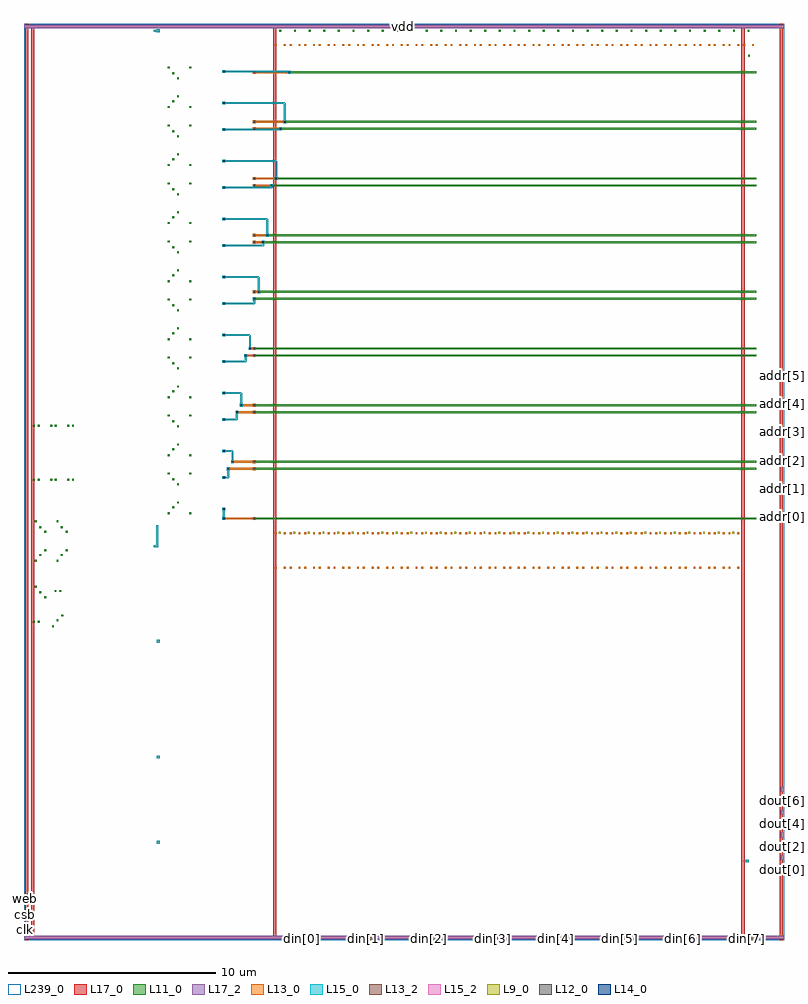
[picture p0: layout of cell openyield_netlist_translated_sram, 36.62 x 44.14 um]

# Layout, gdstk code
import gdstk
lib = gdstk.Library(unit=1e-6, precision=5e-10)
def R(c, l, rs):  # rectangles x0, y0, x1, y1
    for r in rs: c.add(gdstk.rectangle(r[:2], r[2:], *l))
def A(c, l, x, y, w, h, nx, ny, dx, dy):  # array of equal rectangles
    R(c, l, [(x+i*dx, y+j*dy, x+i*dx+w, y+j*dy+h) for i in range(nx) for j in range(ny)])
L9_0 = (9, 0)
L11_0 = (11, 0)
L12_0 = (12, 0)
L13_0 = (13, 0)
L13_2 = (13, 2)
L14_0 = (14, 0)
L15_0 = (15, 0)
L15_2 = (15, 2)
L17_0 = (17, 0)
L17_2 = (17, 2)
L239_0 = (239, 0)

openyield_netlist_transl = lib.new_cell('openyield_netlist_translated_sram')
A(openyield_netlist_transl, L9_0, 12.275, 19.575, 0.09, 0.09, 32, 1, 0.705, 0)
A(openyield_netlist_transl, L11_0, 12.31, 43.77, 0.09, 0.09, 33, 1, 0.705, 0)
R(openyield_netlist_transl, L11_0, [(1.3525,15.08,1.4425,15.17), (0.4375,15.29,0.5275,15.38), (0.67,15.29,0.76,15.38), (1.5675,15.36,1.6575,15.45), (1.805,15.5925,1.895,15.6825), (0.9825,16.475,1.0725,16.565), (0.745,16.7075,0.835,16.7975), (1.475,16.7775,1.565,16.8675), (1.7075,16.7775,1.7975,16.8675), (0.53,16.9875,0.62,17.0775), (0.53,18.2275,0.62,18.3175), (1.5675,18.2275,1.6575,18.3175), (0.745,18.5075,0.835,18.5975), (1.7825,18.5075,1.8725,18.5975), (0.9825,18.74,1.0725,18.83), (2.02,18.74,2.11,18.83), (0.9825,19.6225,1.0725,19.7125), (2.02,19.6225,2.11,19.7125), (0.745,19.855,0.835,19.945), (1.7825,19.855,1.8725,19.945), (0.53,20.135,0.62,20.225), (1.5675,20.135,1.6575,20.225), (11.0325,20.2475,11.1675,20.3825), (11.1,20.27,35.28,20.36), (6.925,20.53,7.015,20.62), (7.9625,20.53,8.0525,20.62), (9.5625,20.7025,9.6975,20.8375), (9.585,20.725,9.675,20.815), (7.14,20.81,7.23,20.9), (7.3775,21.0425,7.4675,21.1325), (7.3775,21.925,7.4675,22.015), (0.4375,22.1375,0.5275,22.2275), (0.67,22.1375,0.76,22.2275), (1.26,22.1375,1.35,22.2275), (1.4925,22.1375,1.5825,22.2275), (2.0825,22.1375,2.1725,22.2275), (2.315,22.1375,2.405,22.2275), (7.14,22.1575,7.23,22.2475), (9.5625,22.22,9.6975,22.355), (9.585,22.2425,9.675,22.3325), (6.925,22.4375,7.015,22.5275), (7.9625,22.4375,8.0525,22.5275), (11.0325,22.6425,11.1675,22.7775), (11.1,22.665,35.28,22.755), (11.0325,22.9775,11.1675,23.1125), (11.1,23,35.28,23.09), (6.925,23.325,7.015,23.415), (7.9625,23.325,8.0525,23.415), (9.5625,23.4975,9.6975,23.6325), (9.585,23.52,9.675,23.61), (7.14,23.605,7.23,23.695), (7.3775,23.8375,7.4675,23.9275), (7.3775,24.72,7.4675,24.81), (0.4375,24.73,0.5275,24.82), (0.67,24.73,0.76,24.82), (1.26,24.73,1.35,24.82), (1.4925,24.73,1.5825,24.82), (2.0825,24.73,2.1725,24.82), (2.315,24.73,2.405,24.82), (7.14,24.9525,7.23,25.0425), (9.5625,25.015,9.6975,25.15), (9.585,25.0375,9.675,25.1275), (6.925,25.2325,7.015,25.3225), (7.9625,25.2325,8.0525,25.3225), (11.0325,25.3725,11.1675,25.5075), (11.1,25.395,35.28,25.485), (11.0325,25.7075,11.1675,25.8425), (11.1,25.73,35.28,25.82), (6.925,26.12,7.015,26.21), (7.9625,26.12,8.0525,26.21), (9.5625,26.2925,9.6975,26.4275), (9.585,26.315,9.675,26.405), (7.14,26.4,7.23,26.49), (7.3775,26.6325,7.4675,26.7225), (7.3775,27.515,7.4675,27.605), (7.14,27.7475,7.23,27.8375), (9.5625,27.81,9.6975,27.945), (9.585,27.8325,9.675,27.9225), (6.925,28.0275,7.015,28.1175), (7.9625,28.0275,8.0525,28.1175), (11.0325,28.1025,11.1675,28.2375), (11.1,28.125,35.28,28.215), (11.0325,28.4375,11.1675,28.5725), (11.1,28.46,35.28,28.55), (6.925,28.915,7.015,29.005), (7.9625,28.915,8.0525,29.005), (9.5625,29.0875,9.6975,29.2225), (9.585,29.11,9.675,29.2), (7.14,29.195,7.23,29.285), (7.3775,29.4275,7.4675,29.5175), (7.3775,30.31,7.4675,30.4), (7.14,30.5425,7.23,30.6325), (9.5625,30.605,9.6975,30.74), (9.585,30.6275,9.675,30.7175), (6.925,30.8225,7.015,30.9125), (7.9625,30.8225,8.0525,30.9125), (11.0325,30.8325,11.1675,30.9675), (11.1,30.855,35.28,30.945), (11.0325,31.1675,11.1675,31.3025), (11.1,31.19,35.28,31.28), (6.925,31.71,7.015,31.8), (7.9625,31.71,8.0525,31.8), (9.5625,31.8825,9.6975,32.0175), (9.585,31.905,9.675,31.995), (7.14,31.99,7.23,32.08), (7.3775,32.2225,7.4675,32.3125), (7.3775,33.105,7.4675,33.195), (7.14,33.3375,7.23,33.4275), (9.5625,33.4,9.6975,33.535), (9.585,33.4225,9.675,33.5125), (11.0325,33.5625,11.1675,33.6975), (11.1,33.585,35.28,33.675), (6.925,33.6175,7.015,33.7075), (7.9625,33.6175,8.0525,33.7075), (11.0325,33.8975,11.1675,34.0325), (11.1,33.92,35.28,34.01), (6.925,34.505,7.015,34.595), (7.9625,34.505,8.0525,34.595), (9.5625,34.6775,9.6975,34.8125), (9.585,34.7,9.675,34.79), (7.14,34.785,7.23,34.875), (7.3775,35.0175,7.4675,35.1075), (7.3775,35.9,7.4675,35.99), (7.14,36.1325,7.23,36.2225), (9.5625,36.195,9.6975,36.33), (9.585,36.2175,9.675,36.3075), (11.0325,36.2925,11.1675,36.4275), (11.1,36.315,35.28,36.405), (6.925,36.4125,7.015,36.5025), (7.9625,36.4125,8.0525,36.5025), (11.0325,36.6275,11.1675,36.7625), (11.1,36.65,35.28,36.74), (6.925,37.3,7.015,37.39), (7.9625,37.3,8.0525,37.39), (9.5625,37.4725,9.6975,37.6075), (9.585,37.495,9.675,37.585), (7.14,37.58,7.23,37.67), (7.3775,37.8125,7.4675,37.9025), (7.3775,38.695,7.4675,38.785), (7.14,38.9275,7.23,39.0175), (9.5625,38.99,9.6975,39.125), (9.585,39.0125,9.675,39.1025), (11.0325,39.0225,11.1675,39.1575), (11.1,39.045,35.28,39.135), (6.925,39.2075,7.015,39.2975), (7.9625,39.2075,8.0525,39.2975), (11.0325,39.3575,11.1675,39.4925), (11.1,39.38,35.28,39.47), (6.925,40.095,7.015,40.185), (7.9625,40.095,8.0525,40.185), (9.5625,40.2675,9.6975,40.4025), (9.585,40.29,9.675,40.38), (7.14,40.375,7.23,40.465), (7.3775,40.6075,7.4675,40.6975), (7.3775,41.49,7.4675,41.58), (7.14,41.7225,7.23,41.8125), (11.0325,41.7525,11.1675,41.8875), (11.1,41.775,35.28,41.865), (9.5625,41.785,9.6975,41.92), (9.585,41.8075,9.675,41.8975), (6.925,42.0025,7.015,42.0925), (7.9625,42.0025,8.0525,42.0925), (34.89,42.5725,34.98,42.6625)])
R(openyield_netlist_transl, L12_0, [(11.0675,20.2825,11.1325,20.3475), (9.5975,20.7375,9.6625,20.8025), (9.5975,22.255,9.6625,22.32), (11.0675,22.6775,11.1325,22.7425), (11.0675,23.0125,11.1325,23.0775), (9.5975,23.5325,9.6625,23.5975), (9.5975,25.05,9.6625,25.115), (11.0675,25.4075,11.1325,25.4725), (11.0675,25.7425,11.1325,25.8075), (9.5975,26.3275,9.6625,26.3925), (9.5975,27.845,9.6625,27.91), (11.0675,28.1375,11.1325,28.2025), (11.0675,28.4725,11.1325,28.5375), (9.5975,29.1225,9.6625,29.1875), (9.5975,30.64,9.6625,30.705), (11.0675,30.8675,11.1325,30.9325), (11.0675,31.2025,11.1325,31.2675), (9.5975,31.9175,9.6625,31.9825), (9.5975,33.435,9.6625,33.5), (11.0675,33.5975,11.1325,33.6625), (11.0675,33.9325,11.1325,33.9975), (9.5975,34.7125,9.6625,34.7775), (9.5975,36.23,9.6625,36.295), (11.0675,36.3275,11.1325,36.3925), (11.0675,36.6625,11.1325,36.7275), (9.5975,37.5075,9.6625,37.5725), (9.5975,39.025,9.6625,39.09), (11.0675,39.0575,11.1325,39.1225), (11.0675,39.3925,11.1325,39.4575), (9.5975,40.3025,9.6625,40.3675), (11.0675,41.7875,11.1325,41.8525), (9.5975,41.82,9.6625,41.885)])
A(openyield_netlist_transl, L13_0, 13.18, 0, 0.5, 0.16, 8, 1, 3.06, 0)
A(openyield_netlist_transl, L13_0, 0, 0.2425, 0.16, 0.5, 1, 3, 0, 0.75)
A(openyield_netlist_transl, L13_0, 0.16, 0.4575, 0.1825, 0.07, 1, 3, 0, 0.75)
R(openyield_netlist_transl, L13_0, [(34.7825,3.74,34.9175,3.875), (6.395,4.6525,6.53,4.7875), (6.395,8.7575,6.53,8.8925), (6.395,14.325,6.53,14.46), (12.0975,17.8975,12.1875,17.9875), (12.5225,17.8975,12.6125,17.9875), (12.8025,17.8975,12.8925,17.9875), (13.2275,17.8975,13.3175,17.9875), (13.5075,17.8975,13.5975,17.9875), (13.9325,17.8975,14.0225,17.9875), (14.2125,17.8975,14.3025,17.9875), (14.6375,17.8975,14.7275,17.9875), (14.9175,17.8975,15.0075,17.9875), (15.3425,17.8975,15.4325,17.9875), (15.6225,17.8975,15.7125,17.9875), (16.0475,17.8975,16.1375,17.9875), (16.3275,17.8975,16.4175,17.9875), (16.7525,17.8975,16.8425,17.9875), (17.0325,17.8975,17.1225,17.9875), (17.4575,17.8975,17.5475,17.9875), (17.7375,17.8975,17.8275,17.9875), (18.1625,17.8975,18.2525,17.9875), (18.4425,17.8975,18.5325,17.9875), (18.8675,17.8975,18.9575,17.9875), (19.1475,17.8975,19.2375,17.9875), (19.5725,17.8975,19.6625,17.9875), (19.8525,17.8975,19.9425,17.9875), (20.2775,17.8975,20.3675,17.9875), (20.5575,17.8975,20.6475,17.9875), (20.9825,17.8975,21.0725,17.9875), (21.2625,17.8975,21.3525,17.9875), (21.6875,17.8975,21.7775,17.9875), (21.9675,17.8975,22.0575,17.9875), (22.3925,17.8975,22.4825,17.9875), (22.6725,17.8975,22.7625,17.9875), (23.0975,17.8975,23.1875,17.9875), (23.3775,17.8975,23.4675,17.9875), (23.8025,17.8975,23.8925,17.9875), (24.0825,17.8975,24.1725,17.9875), (24.5075,17.8975,24.5975,17.9875), (24.7875,17.8975,24.8775,17.9875), (25.2125,17.8975,25.3025,17.9875), (25.4925,17.8975,25.5825,17.9875), (25.9175,17.8975,26.0075,17.9875), (26.1975,17.8975,26.2875,17.9875), (26.6225,17.8975,26.7125,17.9875), (26.9025,17.8975,26.9925,17.9875), (27.3275,17.8975,27.4175,17.9875), (27.6075,17.8975,27.6975,17.9875), (28.0325,17.8975,28.1225,17.9875), (28.3125,17.8975,28.4025,17.9875), (28.7375,17.8975,28.8275,17.9875), (29.0175,17.8975,29.1075,17.9875), (29.4425,17.8975,29.5325,17.9875), (29.7225,17.8975,29.8125,17.9875), (30.1475,17.8975,30.2375,17.9875), (30.4275,17.8975,30.5175,17.9875), (30.8525,17.8975,30.9425,17.9875), (31.1325,17.8975,31.2225,17.9875), (31.5575,17.8975,31.6475,17.9875), (31.8375,17.8975,31.9275,17.9875), (32.2625,17.8975,32.3525,17.9875), (32.5425,17.8975,32.6325,17.9875), (32.9675,17.8975,33.0575,17.9875), (33.2475,17.8975,33.3375,17.9875), (33.6725,17.8975,33.7625,17.9875), (33.9525,17.8975,34.0425,17.9875), (34.3775,17.8975,34.4675,17.9875), (12.0975,19.5575,12.1875,19.6475), (12.5225,19.5575,12.6125,19.6475), (12.8025,19.5575,12.8925,19.6475), (13.2275,19.5575,13.3175,19.6475), (13.5075,19.5575,13.5975,19.6475), (13.9325,19.5575,14.0225,19.6475), (14.2125,19.5575,14.3025,19.6475), (14.6375,19.5575,14.7275,19.6475), (14.9175,19.5575,15.0075,19.6475), (15.3425,19.5575,15.4325,19.6475), (15.6225,19.5575,15.7125,19.6475), (16.0475,19.5575,16.1375,19.6475), (16.3275,19.5575,16.4175,19.6475), (16.7525,19.5575,16.8425,19.6475), (17.0325,19.5575,17.1225,19.6475), (17.4575,19.5575,17.5475,19.6475), (17.7375,19.5575,17.8275,19.6475), (18.1625,19.5575,18.2525,19.6475), (18.4425,19.5575,18.5325,19.6475), (18.8675,19.5575,18.9575,19.6475), (19.1475,19.5575,19.2375,19.6475), (19.5725,19.5575,19.6625,19.6475), (19.8525,19.5575,19.9425,19.6475), (20.2775,19.5575,20.3675,19.6475), (20.5575,19.5575,20.6475,19.6475), (20.9825,19.5575,21.0725,19.6475), (21.2625,19.5575,21.3525,19.6475), (21.6875,19.5575,21.7775,19.6475), (21.9675,19.5575,22.0575,19.6475), (22.3925,19.5575,22.4825,19.6475), (22.6725,19.5575,22.7625,19.6475), (23.0975,19.5575,23.1875,19.6475), (23.3775,19.5575,23.4675,19.6475), (23.8025,19.5575,23.8925,19.6475), (24.0825,19.5575,24.1725,19.6475), (24.5075,19.5575,24.5975,19.6475), (24.7875,19.5575,24.8775,19.6475), (25.2125,19.5575,25.3025,19.6475), (25.4925,19.5575,25.5825,19.6475), (25.9175,19.5575,26.0075,19.6475), (26.1975,19.5575,26.2875,19.6475), (26.6225,19.5575,26.7125,19.6475), (26.9025,19.5575,26.9925,19.6475), (27.3275,19.5575,27.4175,19.6475), (27.6075,19.5575,27.6975,19.6475), (28.0325,19.5575,28.1225,19.6475), (28.3125,19.5575,28.4025,19.6475), (28.7375,19.5575,28.8275,19.6475), (29.0175,19.5575,29.1075,19.6475), (29.4425,19.5575,29.5325,19.6475), (29.7225,19.5575,29.8125,19.6475), (30.1475,19.5575,30.2375,19.6475), (30.4275,19.5575,30.5175,19.6475), (30.8525,19.5575,30.9425,19.6475), (31.1325,19.5575,31.2225,19.6475), (31.5575,19.5575,31.6475,19.6475), (31.8375,19.5575,31.9275,19.6475), (32.2625,19.5575,32.3525,19.6475), (32.5425,19.5575,32.6325,19.6475), (32.9675,19.5575,33.0575,19.6475), (33.2475,19.5575,33.3375,19.6475), (33.6725,19.5575,33.7625,19.6475), (33.9525,19.5575,34.0425,19.6475), (34.3775,19.5575,34.4675,19.6475), (9.5625,20.2475,9.6975,20.3825), (11.0325,20.2475,11.1675,20.3825), (9.63,20.27,11.1,20.36), (9.5625,20.7025,9.6975,20.8375), (9.5625,22.22,9.6975,22.355), (9.7725,22.6425,9.9075,22.7775), (11.0325,22.6425,11.1675,22.7775), (9.84,22.665,11.1,22.755), (9.9825,22.9775,10.1175,23.1125), (11.0325,22.9775,11.1675,23.1125), (10.05,23,11.1,23.09), (9.5625,23.4975,9.6975,23.6325), (9.5625,25.015,9.6975,25.15), (10.1925,25.3725,10.3275,25.5075), (11.0325,25.3725,11.1675,25.5075), (10.26,25.395,11.1,25.485), (10.4025,25.7075,10.5375,25.8425), (11.0325,25.7075,11.1675,25.8425), (10.47,25.73,11.1,25.82), (9.5625,26.2925,9.6975,26.4275), (9.5625,27.81,9.6975,27.945), (10.6125,28.1025,10.7475,28.2375), (11.0325,28.1025,11.1675,28.2375), (10.68,28.125,11.1,28.215), (10.8225,28.4375,10.9575,28.5725), (11.0325,28.4375,11.1675,28.5725), (10.89,28.46,11.1,28.55), (9.5625,29.0875,9.6975,29.2225), (9.5625,30.605,9.6975,30.74), (11.0325,30.8325,11.1675,30.9675), (11.0325,31.1675,11.1675,31.3025), (11.2425,31.1675,11.3775,31.3025), (11.1,31.19,11.31,31.28), (9.5625,31.8825,9.6975,32.0175), (9.5625,33.4,9.6975,33.535), (11.0325,33.5625,11.1675,33.6975), (11.4525,33.5625,11.5875,33.6975), (11.1,33.585,11.52,33.675), (11.0325,33.8975,11.1675,34.0325), (11.6625,33.8975,11.7975,34.0325), (11.1,33.92,11.73,34.01), (9.5625,34.6775,9.6975,34.8125), (9.5625,36.195,9.6975,36.33), (11.0325,36.2925,11.1675,36.4275), (11.8725,36.2925,12.0075,36.4275), (11.1,36.315,11.94,36.405), (11.0325,36.6275,11.1675,36.7625), (12.0825,36.6275,12.2175,36.7625), (11.1,36.65,12.15,36.74), (9.5625,37.4725,9.6975,37.6075), (9.5625,38.99,9.6975,39.125), (11.0325,39.0225,11.1675,39.1575), (12.2925,39.0225,12.4275,39.1575), (11.1,39.045,12.36,39.135), (11.0325,39.3575,11.1675,39.4925), (12.5025,39.3575,12.6375,39.4925), (11.1,39.38,12.57,39.47), (9.5625,40.2675,9.6975,40.4025), (11.0325,41.7525,11.1675,41.8875), (12.7125,41.7525,12.8475,41.8875), (11.1,41.775,12.78,41.865), (9.5625,41.785,9.6975,41.92), (12.0975,43.0875,12.1875,43.1775), (12.5225,43.0875,12.6125,43.1775), (12.8025,43.0875,12.8925,43.1775), (13.2275,43.0875,13.3175,43.1775), (13.5075,43.0875,13.5975,43.1775), (13.9325,43.0875,14.0225,43.1775), (14.2125,43.0875,14.3025,43.1775), (14.6375,43.0875,14.7275,43.1775), (14.9175,43.0875,15.0075,43.1775), (15.3425,43.0875,15.4325,43.1775), (15.6225,43.0875,15.7125,43.1775), (16.0475,43.0875,16.1375,43.1775), (16.3275,43.0875,16.4175,43.1775), (16.7525,43.0875,16.8425,43.1775), (17.0325,43.0875,17.1225,43.1775), (17.4575,43.0875,17.5475,43.1775), (17.7375,43.0875,17.8275,43.1775), (18.1625,43.0875,18.2525,43.1775), (18.4425,43.0875,18.5325,43.1775), (18.8675,43.0875,18.9575,43.1775), (19.1475,43.0875,19.2375,43.1775), (19.5725,43.0875,19.6625,43.1775), (19.8525,43.0875,19.9425,43.1775), (20.2775,43.0875,20.3675,43.1775), (20.5575,43.0875,20.6475,43.1775), (20.9825,43.0875,21.0725,43.1775), (21.2625,43.0875,21.3525,43.1775), (21.6875,43.0875,21.7775,43.1775), (21.9675,43.0875,22.0575,43.1775), (22.3925,43.0875,22.4825,43.1775), (22.6725,43.0875,22.7625,43.1775), (23.0975,43.0875,23.1875,43.1775), (23.3775,43.0875,23.4675,43.1775), (23.8025,43.0875,23.8925,43.1775), (24.0825,43.0875,24.1725,43.1775), (24.5075,43.0875,24.5975,43.1775), (24.7875,43.0875,24.8775,43.1775), (25.2125,43.0875,25.3025,43.1775), (25.4925,43.0875,25.5825,43.1775), (25.9175,43.0875,26.0075,43.1775), (26.1975,43.0875,26.2875,43.1775), (26.6225,43.0875,26.7125,43.1775), (26.9025,43.0875,26.9925,43.1775), (27.3275,43.0875,27.4175,43.1775), (27.6075,43.0875,27.6975,43.1775), (28.0325,43.0875,28.1225,43.1775), (28.3125,43.0875,28.4025,43.1775), (28.7375,43.0875,28.8275,43.1775), (29.0175,43.0875,29.1075,43.1775), (29.4425,43.0875,29.5325,43.1775), (29.7225,43.0875,29.8125,43.1775), (30.1475,43.0875,30.2375,43.1775), (30.4275,43.0875,30.5175,43.1775), (30.8525,43.0875,30.9425,43.1775), (31.1325,43.0875,31.2225,43.1775), (31.5575,43.0875,31.6475,43.1775), (31.8375,43.0875,31.9275,43.1775), (32.2625,43.0875,32.3525,43.1775), (32.5425,43.0875,32.6325,43.1775), (32.9675,43.0875,33.0575,43.1775), (33.2475,43.0875,33.3375,43.1775), (33.6725,43.0875,33.7625,43.1775), (33.9525,43.0875,34.0425,43.1775), (34.3775,43.0875,34.4675,43.1775), (34.6575,43.0875,34.7475,43.1775), (35.0825,43.0875,35.1725,43.1775), (6.395,43.7475,6.53,43.8825)])
A(openyield_netlist_transl, L13_2, 13.18, 0, 0.5, 0.16, 8, 1, 3.06, 0)
A(openyield_netlist_transl, L13_2, 0, 0.2425, 0.16, 0.5, 1, 3, 0, 0.75)
R(openyield_netlist_transl, L14_0, [(9.5975,20.2825,9.6625,20.3475), (9.5975,20.7375,9.6625,20.8025), (9.5975,22.255,9.6625,22.32), (9.8075,22.6775,9.8725,22.7425), (10.0175,23.0125,10.0825,23.0775), (9.5975,23.5325,9.6625,23.5975), (9.5975,25.05,9.6625,25.115), (10.2275,25.4075,10.2925,25.4725), (10.4375,25.7425,10.5025,25.8075), (9.5975,26.3275,9.6625,26.3925), (9.5975,27.845,9.6625,27.91), (10.6475,28.1375,10.7125,28.2025), (10.8575,28.4725,10.9225,28.5375), (9.5975,29.1225,9.6625,29.1875), (9.5975,30.64,9.6625,30.705), (11.0675,30.8675,11.1325,30.9325), (11.2775,31.2025,11.3425,31.2675), (9.5975,31.9175,9.6625,31.9825), (9.5975,33.435,9.6625,33.5), (11.4875,33.5975,11.5525,33.6625), (11.6975,33.9325,11.7625,33.9975), (9.5975,34.7125,9.6625,34.7775), (9.5975,36.23,9.6625,36.295), (11.9075,36.3275,11.9725,36.3925), (12.1175,36.6625,12.1825,36.7275), (9.5975,37.5075,9.6625,37.5725), (9.5975,39.025,9.6625,39.09), (12.3275,39.0575,12.3925,39.1225), (12.5375,39.3925,12.6025,39.4575), (9.5975,40.3025,9.6625,40.3675), (12.7475,41.7875,12.8125,41.8525), (9.5975,41.82,9.6625,41.885)])
A(openyield_netlist_transl, L15_0, 36.4625, 3.2875, 0.16, 0.25, 1, 8, 0, 0.55)
A(openyield_netlist_transl, L15_0, 36.4625, 20.1475, 0.16, 0.5, 1, 6, 0, 1.365)
R(openyield_netlist_transl, L15_0, [(34.7825,3.74,34.9175,3.875), (6.395,4.6525,6.53,4.7875), (6.395,8.7575,6.53,8.8925), (6.395,14.325,6.53,14.46), (6.2625,18.925,6.4575,19.015), (6.3675,18.925,6.4575,19.9925), (9.5625,20.2475,9.6975,20.3825), (9.585,20.315,9.675,20.77), (9.5625,20.7025,9.6975,20.8375), (9.5625,22.22,9.6975,22.355), (9.63,22.2425,9.84,22.3325), (9.795,22.2875,9.885,22.71), (9.7725,22.6425,9.9075,22.7775), (9.9825,22.9775,10.1175,23.1125), (10.005,23.045,10.095,23.565), (9.5625,23.4975,9.6975,23.6325), (9.63,23.52,10.05,23.61), (9.5625,25.015,9.6975,25.15), (9.63,25.0375,10.26,25.1275), (10.215,25.0825,10.305,25.44), (10.1925,25.3725,10.3275,25.5075), (10.4025,25.7075,10.5375,25.8425), (10.425,25.775,10.515,26.36), (9.5625,26.2925,9.6975,26.4275), (9.63,26.315,10.47,26.405), (9.5625,27.81,9.6975,27.945), (9.63,27.8325,10.68,27.9225), (10.635,27.8775,10.725,28.17), (10.6125,28.1025,10.7475,28.2375), (10.8225,28.4375,10.9575,28.5725), (10.845,28.505,10.935,29.155), (9.5625,29.0875,9.6975,29.2225), (9.63,29.11,10.89,29.2), (9.5625,30.605,9.6975,30.74), (9.63,30.6275,11.1,30.7175), (11.055,30.6725,11.145,30.9), (11.0325,30.8325,11.1675,30.9675), (11.2425,31.1675,11.3775,31.3025), (11.265,31.235,11.355,31.95), (9.5625,31.8825,9.6975,32.0175), (9.63,31.905,11.31,31.995), (9.5625,33.4,9.6975,33.535), (9.63,33.4225,11.52,33.5125), (11.475,33.4675,11.565,33.63), (11.4525,33.5625,11.5875,33.6975), (11.6625,33.8975,11.7975,34.0325), (11.685,33.965,11.775,34.745), (9.5625,34.6775,9.6975,34.8125), (9.63,34.7,11.73,34.79), (9.5625,36.195,9.6975,36.33), (9.63,36.2175,11.94,36.3075), (11.895,36.2625,11.985,36.36), (11.8725,36.2925,12.0075,36.4275), (12.0825,36.6275,12.2175,36.7625), (12.105,36.695,12.195,37.54), (9.5625,37.4725,9.6975,37.6075), (9.63,37.495,12.15,37.585), (9.5625,38.99,9.6975,39.125), (9.63,39.0125,12.36,39.1025), (12.2925,39.0225,12.4275,39.1575), (12.315,39.03,12.405,39.12), (12.5025,39.3575,12.6375,39.4925), (12.525,39.425,12.615,40.335), (9.5625,40.2675,9.6975,40.4025), (9.63,40.29,12.57,40.38), (12.7125,41.7525,12.8475,41.8875), (9.5625,41.785,9.6975,41.92), (12.735,41.7925,12.825,41.8825), (9.63,41.8075,12.78,41.8975), (6.395,43.7475,6.53,43.8825), (6.2625,43.77,6.4625,43.86)])
A(openyield_netlist_transl, L15_2, 36.4625, 3.2875, 0.16, 0.25, 1, 8, 0, 0.55)
A(openyield_netlist_transl, L15_2, 36.4625, 20.1475, 0.16, 0.5, 1, 6, 0, 1.365)
R(openyield_netlist_transl, L17_0, [(0.05,0,0.2,44.145), (36.4225,0,36.5725,44.145), (0,0.05,36.6225,0.2), (0.3425,0.2,0.5025,43.945), (12,0.2,12.16,43.945), (34.56,0.2,34.72,43.945), (0,43.945,36.6225,44.095)])
R(openyield_netlist_transl, L17_2, [(0,0.05,36.6225,0.2), (0,43.945,36.6225,44.095)])
R(openyield_netlist_transl, L239_0, [(0,0,36.6225,44.145)])
openyield_netlist_transl.add(gdstk.Label('clk', (0.08,0.4925), layer=13, texttype=1))
openyield_netlist_transl.add(gdstk.Label('csb', (0.08,1.2425), layer=13, texttype=1))
openyield_netlist_transl.add(gdstk.Label('web', (0.08,1.9925), layer=13, texttype=1))
openyield_netlist_transl.add(gdstk.Label('addr[0]', (36.5425,20.3975), layer=15, texttype=1))
openyield_netlist_transl.add(gdstk.Label('addr[1]', (36.5425,21.7625), layer=15, texttype=1))
openyield_netlist_transl.add(gdstk.Label('addr[2]', (36.5425,23.1275), layer=15, texttype=1))
openyield_netlist_transl.add(gdstk.Label('addr[3]', (36.5425,24.4925), layer=15, texttype=1))
openyield_netlist_transl.add(gdstk.Label('addr[4]', (36.5425,25.8575), layer=15, texttype=1))
openyield_netlist_transl.add(gdstk.Label('addr[5]', (36.5425,27.2225), layer=15, texttype=1))
openyield_netlist_transl.add(gdstk.Label('din[0]', (13.43,0.08), layer=13, texttype=1))
openyield_netlist_transl.add(gdstk.Label('dout[0]', (36.5425,3.4125), layer=15, texttype=1))
openyield_netlist_transl.add(gdstk.Label('din[1]', (16.49,0.08), layer=13, texttype=1))
openyield_netlist_transl.add(gdstk.Label('dout[1]', (36.5425,3.9625), layer=15, texttype=1))
openyield_netlist_transl.add(gdstk.Label('din[2]', (19.55,0.08), layer=13, texttype=1))
openyield_netlist_transl.add(gdstk.Label('dout[2]', (36.5425,4.5125), layer=15, texttype=1))
openyield_netlist_transl.add(gdstk.Label('din[3]', (22.61,0.08), layer=13, texttype=1))
openyield_netlist_transl.add(gdstk.Label('dout[3]', (36.5425,5.0625), layer=15, texttype=1))
openyield_netlist_transl.add(gdstk.Label('din[4]', (25.67,0.08), layer=13, texttype=1))
openyield_netlist_transl.add(gdstk.Label('dout[4]', (36.5425,5.6125), layer=15, texttype=1))
openyield_netlist_transl.add(gdstk.Label('din[5]', (28.73,0.08), layer=13, texttype=1))
openyield_netlist_transl.add(gdstk.Label('dout[5]', (36.5425,6.1625), layer=15, texttype=1))
openyield_netlist_transl.add(gdstk.Label('din[6]', (31.79,0.08), layer=13, texttype=1))
openyield_netlist_transl.add(gdstk.Label('dout[6]', (36.5425,6.7125), layer=15, texttype=1))
openyield_netlist_transl.add(gdstk.Label('din[7]', (34.85,0.08), layer=13, texttype=1))
openyield_netlist_transl.add(gdstk.Label('dout[7]', (36.5425,7.2625), layer=15, texttype=1))
openyield_netlist_transl.add(gdstk.Label('vdd', (18.31,44.02), layer=17, texttype=1))
openyield_netlist_transl.add(gdstk.Label('gnd', (18.31,0.125), layer=17, texttype=1))

lib.write_gds('openyield_netlist_translated_sram.gds')
